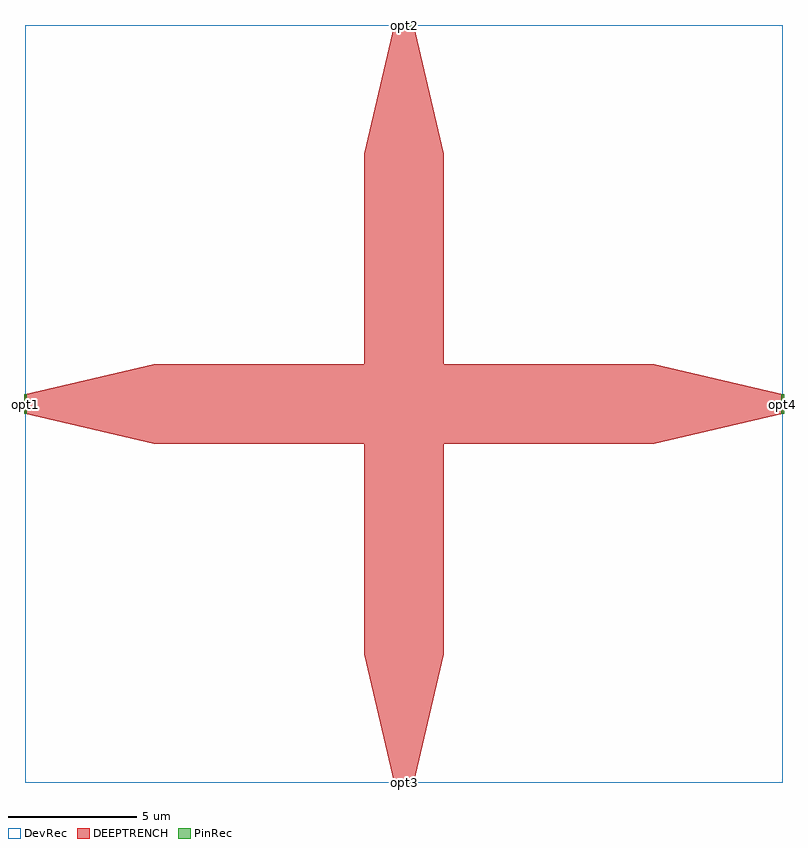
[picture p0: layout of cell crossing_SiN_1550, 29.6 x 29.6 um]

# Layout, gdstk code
import gdstk
lib = gdstk.Library(unit=1e-6, precision=1e-09)
def R(c, l, rs):  # rectangles x0, y0, x1, y1
    for r in rs: c.add(gdstk.rectangle(r[:2], r[2:], *l))
def P(c, l, *ps):  # polygons
    for p in ps: c.add(gdstk.Polygon(p, *l))
PinRec = (1, 10)
DEEPTRENCH = (4, 0)
DevRec = (68, 0)

crossing_sin_1550 = lib.new_cell('crossing_SiN_1550')
R(crossing_sin_1550, PinRec, [(-0.375,-14.8,0.375,-14.7), (-14.8,-0.375,-14.7,0.375), (14.7,-0.375,14.8,0.375), (-0.375,14.7,0.375,14.8)])
P(crossing_sin_1550, DEEPTRENCH, [(-0.375,-14.75),(-1.55,-9.75),(-1.55,-1.55),(-9.75,-1.55),(-14.75,-0.375),(-14.75,0.375),(-9.75,1.55),(-1.55,1.55),(-1.55,9.75),(-0.375,14.75),(0.375,14.75),(1.55,9.75),(1.55,1.55),(9.75,1.55),(14.75,0.375),(14.75,-0.375),(9.75,-1.55),(1.55,-1.55),(1.55,-9.75),(0.375,-14.75)])
R(crossing_sin_1550, DevRec, [(-14.75,-14.75,14.75,14.75)])
crossing_sin_1550.add(gdstk.Label('opt1', (-14.75,0), layer=1, texttype=10))
crossing_sin_1550.add(gdstk.Label('opt2', (0,14.75), layer=1, texttype=10))
crossing_sin_1550.add(gdstk.Label('opt4', (14.75,0), layer=1, texttype=10))
crossing_sin_1550.add(gdstk.Label('opt3', (0,-14.75), layer=1, texttype=10))
crossing_sin_1550.add(gdstk.Label('https://github.com/SiEPIC/SiEPIC_EBeam_PDK/tree/master/docs/components/ebeam_sin/crossing_SiN_1550/crossing_SiN_1550.md', (-13,0), layer=10, texttype=0))

lib.write_gds('crossing_SiN_1550.gds')
